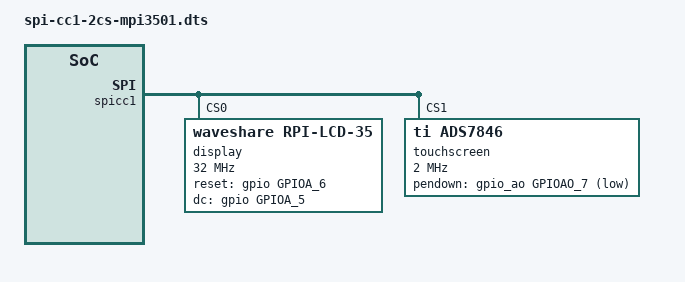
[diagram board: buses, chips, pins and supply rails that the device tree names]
// SPDX-License-Identifier: (GPL-2.0+ OR MIT)
/*
 * Copyright (c) 2024 Da Xue
 * Author: Da Xue <da@libre.computer>
 */

/dts-v1/;
/plugin/;

#include <dt-bindings/gpio/gpio.h>
#include <dt-bindings/gpio/meson-g12a-gpio.h>
#include <dt-bindings/interrupt-controller/irq.h>
#include <dt-bindings/interrupt-controller/amlogic,meson-g12a-gpio-intc.h>

/ {
        compatible = "libretech,aml-a311d-cc", "amlogic,a311d", "amlogic,g12b", "libretech,aml-s905d3-cc", "amlogic,s905d3", "amlogic,sm1";
	
	fragment@0 {
		target = <&spicc1>;
		
		__overlay__ {

			display@0 {
				compatible = "waveshare,rpi-lcd-35", "ilitek,ili9486";
				reg = <0>;
				spi-max-frequency = <32000000>;
				reset-gpios = <&gpio GPIOA_6 GPIO_ACTIVE_HIGH>;
				dc-gpios = <&gpio GPIOA_5 GPIO_ACTIVE_HIGH>;
				status = "okay";
			};

			touchscreen@1 {
				compatible = "ti,ads7846";
				reg = <1>;
				spi-max-frequency = <2000000>;
				interrupt-parent = <&gpio_intc>;
				interrupts = <IRQID_GPIOAO_7 IRQ_TYPE_EDGE_FALLING>;
				pendown-gpio = <&gpio_ao GPIOAO_7 GPIO_ACTIVE_LOW>;
				ti,x-plate-ohms = /bits/ 16 <60>;
				ti,pressure-max = /bits/ 16 <255>;
				touchscreen-swapped-x-y;
				touchscreen-inverted-x;
				touchscreen-min-x = <300>;
				touchscreen-size-x = <3850>;
				touchscreen-min-y = <240>;
				touchscreen-size-y = <3900>;
				wakeup-source;
				status = "okay";
			};
		};
	};
};
